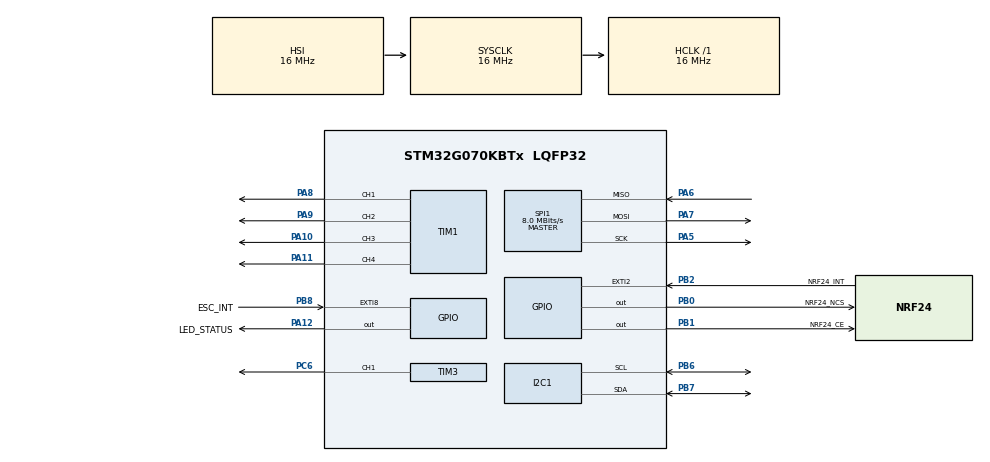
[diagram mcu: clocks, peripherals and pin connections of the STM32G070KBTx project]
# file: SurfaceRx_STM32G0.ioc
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I2C1.CustomTiming=Disabled
Mcu.Family=STM32G0
Mcu.Name=STM32G070KBTx
Mcu.Package=LQFP32
NVIC.EXTI2_3_IRQn=true\:0\:0\:false\:false\:true\:true\:true\:true
NVIC.EXTI4_15_IRQn=true\:0\:0\:false\:false\:true\:true\:true\:true
NVIC.TIM6_IRQn=true\:0\:0\:false\:false\:true\:true\:true\:true
PA10.Signal=S_TIM1_CH3
PA11\ [PA9].Signal=S_TIM1_CH4
PA12\ [PA10].GPIO_Label=LED_STATUS
PA12\ [PA10].Signal=GPIO_Output
PA13.Mode=Serial_Wire
PA13.Signal=SYS_SWDIO
PA14-BOOT0.Mode=Serial_Wire
PA14-BOOT0.Signal=SYS_SWCLK
PA5.Mode=Full_Duplex_Master
PA5.Signal=SPI1_SCK
PA6.Mode=Full_Duplex_Master
PA6.Signal=SPI1_MISO
PA7.Mode=Full_Duplex_Master
PA7.Signal=SPI1_MOSI
PA8.Signal=S_TIM1_CH1
PA9.Signal=S_TIM1_CH2
PB0.GPIO_Label=NRF24_NCS
PB0.Signal=GPIO_Output
PB1.GPIO_Label=NRF24_CE
PB1.Signal=GPIO_Output
PB2.GPIO_Label=NRF24_INT
PB2.Signal=GPXTI2
PB6.Mode=I2C
PB6.Signal=I2C1_SCL
PB7.Mode=I2C
PB7.Signal=I2C1_SDA
PB8.GPIO_Label=ESC_INT
PB8.Signal=GPXTI8
PC6.Signal=S_TIM3_CH1
ProjectManager.HeapSize=0x200
ProjectManager.StackSize=0x400
ProjectManager.TargetToolchain=STM32CubeIDE
RCC.AHBFreq_Value=16000000
RCC.CortexFreq_Value=16000000
RCC.EXTERNAL_CLOCK_VALUE=48000
RCC.HCLKFreq_Value=16000000
RCC.HSE_VALUE=8000000
RCC.HSI_VALUE=16000000
RCC.LSE_VALUE=32768
RCC.SYSCLKFreq_VALUE=16000000
RCC.VCOOutputFreq_Value=128000000
SH.S_TIM1_CH1.0=TIM1_CH1,PWM Generation1 CH1
SH.S_TIM1_CH2.0=TIM1_CH2,PWM Generation2 CH2
SH.S_TIM1_CH3.0=TIM1_CH3,PWM Generation3 CH3
SH.S_TIM1_CH4.0=TIM1_CH4,PWM Generation4 CH4
SH.S_TIM3_CH1.0=TIM3_CH1,PWM Generation1 CH1
SPI1.CalculateBaudRate=8.0 MBits/s
SPI1.DataSize=SPI_DATASIZE_8BIT
SPI1.Direction=SPI_DIRECTION_2LINES
SPI1.Mode=SPI_MODE_MASTER
SPI1.NSSPMode=SPI_NSS_PULSE_DISABLE
SPI1.VirtualType=VM_MASTER
TIM1.Channel-PWM\ Generation1\ CH1=TIM_CHANNEL_1
TIM1.Channel-PWM\ Generation2\ CH2=TIM_CHANNEL_2
TIM1.Channel-PWM\ Generation3\ CH3=TIM_CHANNEL_3
TIM1.Channel-PWM\ Generation4\ CH4=TIM_CHANNEL_4
TIM3.Channel-PWM\ Generation1\ CH1=TIM_CHANNEL_1
TIM6.AutoReloadPreload=TIM_AUTORELOAD_PRELOAD_ENABLE
TIM6.Period=50000-1
TIM6.Prescaler=8-1
VP_SYS_VS_DBSignals.Mode=DisableDeadBatterySignals
VP_TIM1_VS_ClockSourceINT.Mode=Internal
VP_TIM3_VS_ClockSourceINT.Mode=Internal
VP_TIM6_VS_ClockSourceINT.Mode=Enable_Timer
board=custom

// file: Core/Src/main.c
/* USER CODE BEGIN Header */
/**
  ******************************************************************************
  * @file           : main.c
  * @brief          : Main program body
  ******************************************************************************
  * @attention
  *
  * Copyright (c) 2023 STMicroelectronics.
  * All rights reserved.
  *
  * This software is licensed under terms that can be found in the LICENSE file
  * in the root directory of this software component.
  * If no LICENSE file comes with this software, it is provided AS-IS.
  *
  ******************************************************************************
  */
/* USER CODE END Header */
#include "main.h"
#include "i2c.h"
#include "spi.h"
#include "tim.h"
#include "gpio.h"

/* USER CODE BEGIN Includes */
#include <stdbool.h>
#include "devices/servo.h"
#include "devices/radio/receiver.h"
/* USER CODE END Includes */

/* USER CODE BEGIN PD */
//TODO: move to configuration file
#define NUM_SERVO 5
/* USER CODE END PD */

/* USER CODE BEGIN PV */
Receiver_t rx;
Servo_t servo[NUM_SERVO];

GPIO_t ncsGpio = {
		  .port = NRF24_NCS_GPIO_Port,
		  .pin = NRF24_NCS_Pin
};
GPIO_t ceGpio = {
		  .port = NRF24_CE_GPIO_Port,
		  .pin = NRF24_CE_Pin
};

bool failSafeActive;

/* USER CODE END PV */

void SystemClock_Config(void);

/* USER CODE BEGIN 0 */
void HAL_GPIO_EXTI_Callback(uint16_t GPIO_Pin) {
	if(GPIO_Pin == NRF24_INT_Pin) {
		ProcessRxPacket(&rx);
		__HAL_TIM_SET_COUNTER(&htim6, 0);
		failSafeActive = false;
		for(int i = 0; i < NUM_SERVO; i++) {
			SetServoPosition(&servo[i], GetRxChannelAt(&rx, i));
		}
	}
}

void HAL_TIM_PeriodElapsedCallback(TIM_HandleTypeDef *htim) {
	if(htim == &htim6) {
		failSafeActive = true;
		/*
		 *	TODO: use throttle constant for servo, add support for I2C ESC,
		 *	use programmed, fail safe value
		 */
		SetServoPosition(&servo[0], 367);
	}
}

/* USER CODE END 0 */

int main(void)
{

  /* MCU Configuration--------------------------------------------------------*/

  /* Reset of all peripherals, Initializes the Flash interface and the Systick. */
  HAL_Init();

  /* Configure the system clock */
  SystemClock_Config();

  /* Initialize all configured peripherals */
  MX_GPIO_Init();
  MX_I2C1_Init();
  MX_SPI1_Init();
  MX_TIM1_Init();
  MX_TIM3_Init();
  MX_TIM6_Init();
  /* USER CODE BEGIN 2 */

  InitRx(&rx, &hspi1, &ncsGpio, &ceGpio);
  /* USER CODE END 2 */

  /* Infinite loop */
  while (1)
  {

  }
}

void SystemClock_Config(void)
{
  RCC_OscInitTypeDef RCC_OscInitStruct = {0};
  RCC_ClkInitTypeDef RCC_ClkInitStruct = {0};

  /** Configure the main internal regulator output voltage
  */
  HAL_PWREx_ControlVoltageScaling(PWR_REGULATOR_VOLTAGE_SCALE1);

  /** Initializes the RCC Oscillators according to the specified parameters
  * in the RCC_OscInitTypeDef structure.
  */
  RCC_OscInitStruct.OscillatorType = RCC_OSCILLATORTYPE_HSI;
  RCC_OscInitStruct.HSIState = RCC_HSI_ON;
  RCC_OscInitStruct.HSIDiv = RCC_HSI_DIV1;
  RCC_OscInitStruct.HSICalibrationValue = RCC_HSICALIBRATION_DEFAULT;
  RCC_OscInitStruct.PLL.PLLState = RCC_PLL_NONE;
  if (HAL_RCC_OscConfig(&RCC_OscInitStruct) != HAL_OK)
  {
    Error_Handler();
  }

  /** Initializes the CPU, AHB and APB buses clocks
  */
  RCC_ClkInitStruct.ClockType = RCC_CLOCKTYPE_HCLK|RCC_CLOCKTYPE_SYSCLK
                              |RCC_CLOCKTYPE_PCLK1;
  RCC_ClkInitStruct.SYSCLKSource = RCC_SYSCLKSOURCE_HSI;
  RCC_ClkInitStruct.AHBCLKDivider = RCC_SYSCLK_DIV1;
  RCC_ClkInitStruct.APB1CLKDivider = RCC_HCLK_DIV1;

  if (HAL_RCC_ClockConfig(&RCC_ClkInitStruct, FLASH_LATENCY_0) != HAL_OK)
  {
    Error_Handler();
  }
}

void Error_Handler(void)
{
  __disable_irq();
  while (1)
  {
  }
}
